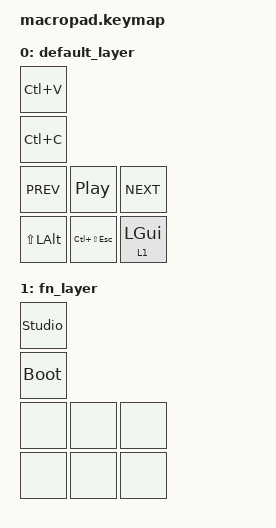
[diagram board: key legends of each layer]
// This file was generated from a template. Edit it to match your keyboard.
// See https://zmk.dev/docs/development/hardware-integration/new-shield for more instructions.

#include <behaviors.dtsi>
#include <dt-bindings/zmk/keys.h>

/ {
    keymap {
        compatible = "zmk,keymap";

        default_layer {
            bindings = <
                // Row 0
                &kp LC(V)
                // Row 1
                &kp LC(C)
                // Row 2
                &kp C_PREV   &kp C_PLAY_PAUSE   &kp C_NEXT
                // Row 3
                &kp LS(LALT)  &kp LC(LS(ESC))   &lt 1 LGUI
            >;
        };

        fn_layer {
            bindings = <
                // Row 0
                &studio_unlock
                // Row 1
                &bootloader
                // Row 2
                &none   &none   &none
                // Row 3
                &none   &none   &none
            >;
        };
    };
};

&led_strip {
    chain-length = <8>;
};
